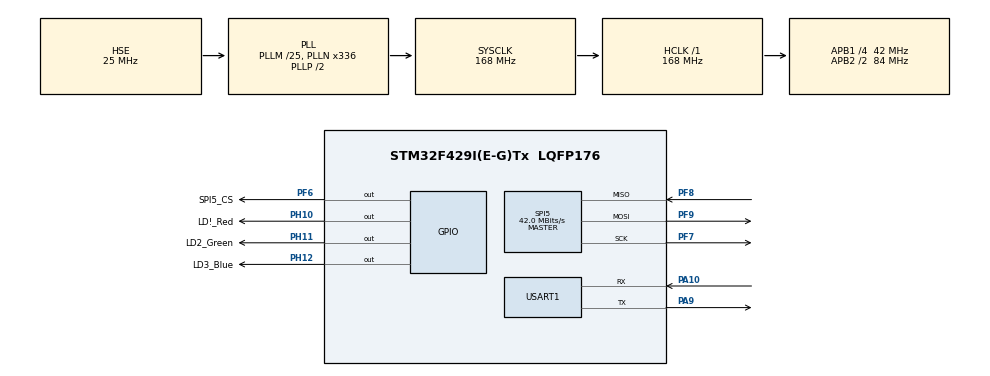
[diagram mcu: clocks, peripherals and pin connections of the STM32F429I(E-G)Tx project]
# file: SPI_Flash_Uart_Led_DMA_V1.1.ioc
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Dma.Request0=SPI5_RX
Dma.Request1=SPI5_TX
Dma.SPI5_RX.0.Direction=DMA_PERIPH_TO_MEMORY
Dma.SPI5_RX.0.FIFOMode=DMA_FIFOMODE_DISABLE
Dma.SPI5_RX.0.Instance=DMA2_Stream3
Dma.SPI5_RX.0.MemDataAlignment=DMA_MDATAALIGN_BYTE
Dma.SPI5_RX.0.MemInc=DMA_MINC_ENABLE
Dma.SPI5_RX.0.Mode=DMA_NORMAL
Dma.SPI5_RX.0.PeriphDataAlignment=DMA_PDATAALIGN_BYTE
Dma.SPI5_RX.0.PeriphInc=DMA_PINC_DISABLE
Dma.SPI5_RX.0.Priority=DMA_PRIORITY_LOW
Dma.SPI5_TX.1.Direction=DMA_MEMORY_TO_PERIPH
Dma.SPI5_TX.1.FIFOMode=DMA_FIFOMODE_DISABLE
Dma.SPI5_TX.1.Instance=DMA2_Stream4
Dma.SPI5_TX.1.MemDataAlignment=DMA_MDATAALIGN_BYTE
Dma.SPI5_TX.1.MemInc=DMA_MINC_ENABLE
Dma.SPI5_TX.1.Mode=DMA_NORMAL
Dma.SPI5_TX.1.PeriphDataAlignment=DMA_PDATAALIGN_BYTE
Dma.SPI5_TX.1.PeriphInc=DMA_PINC_DISABLE
Dma.SPI5_TX.1.Priority=DMA_PRIORITY_LOW
FATFS._MAX_SS=4096
Mcu.Family=STM32F4
Mcu.Name=STM32F429I(E-G)Tx
Mcu.Package=LQFP176
NVIC.DMA2_Stream3_IRQn=true\:0\:0\:false\:false\:true\:false\:true
NVIC.DMA2_Stream4_IRQn=true\:0\:0\:false\:false\:true\:false\:true
NVIC.PriorityGroup=NVIC_PRIORITYGROUP_4
NVIC.SPI5_IRQn=true\:0\:0\:false\:false\:true\:true\:true
PA10.Mode=Asynchronous
PA10.Signal=USART1_RX
PA13.Mode=Serial_Wire
PA13.Signal=SYS_JTMS-SWDIO
PA14.Mode=Serial_Wire
PA14.Signal=SYS_JTCK-SWCLK
PA9.Mode=Asynchronous
PA9.Signal=USART1_TX
PF6.GPIO_Label=SPI5_CS
PF6.PinState=GPIO_PIN_SET
PF6.Signal=GPIO_Output
PF7.Mode=Full_Duplex_Master
PF7.Signal=SPI5_SCK
PF8.Mode=Full_Duplex_Master
PF8.Signal=SPI5_MISO
PF9.Mode=Full_Duplex_Master
PF9.Signal=SPI5_MOSI
PH0/OSC_IN.Mode=HSE-External-Oscillator
PH0/OSC_IN.Signal=RCC_OSC_IN
PH1/OSC_OUT.Mode=HSE-External-Oscillator
PH1/OSC_OUT.Signal=RCC_OSC_OUT
PH10.GPIO_Label=LD\!_Red
PH10.PinState=GPIO_PIN_SET
PH10.Signal=GPIO_Output
PH11.GPIO_Label=LD2_Green
PH11.PinState=GPIO_PIN_SET
PH11.Signal=GPIO_Output
PH12.GPIO_Label=LD3_Blue
PH12.PinState=GPIO_PIN_SET
PH12.Signal=GPIO_Output
ProjectManager.HeapSize=0x200
ProjectManager.StackSize=0x400
ProjectManager.TargetToolchain=STM32CubeIDE
RCC.48MHZClocksFreq_Value=84000000
RCC.AHBFreq_Value=168000000
RCC.APB1CLKDivider=RCC_HCLK_DIV4
RCC.APB1Freq_Value=42000000
RCC.APB1TimFreq_Value=84000000
RCC.APB2CLKDivider=RCC_HCLK_DIV2
RCC.APB2Freq_Value=84000000
RCC.APB2TimFreq_Value=168000000
RCC.CortexFreq_Value=168000000
RCC.HCLKFreq_Value=168000000
RCC.HSE_VALUE=25000000
RCC.HSI_VALUE=16000000
RCC.LSE_VALUE=32768
RCC.PLLM=25
RCC.PLLN=336
RCC.PLLSourceVirtual=RCC_PLLSOURCE_HSE
RCC.SYSCLKFreq_VALUE=168000000
RCC.SYSCLKSource=RCC_SYSCLKSOURCE_PLLCLK
RCC.VCOOutputFreq_Value=336000000
SPI5.BaudRatePrescaler=SPI_BAUDRATEPRESCALER_2
SPI5.CalculateBaudRate=42.0 MBits/s
SPI5.Direction=SPI_DIRECTION_2LINES
SPI5.Mode=SPI_MODE_MASTER
SPI5.VirtualType=VM_MASTER
USART1.VirtualMode=VM_ASYNC
VP_FATFS_VS_Generic.Mode=User_defined
board=custom

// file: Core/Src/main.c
/* USER CODE BEGIN Header */
/**
  ******************************************************************************
  * @file           : main.c
  * @brief          : Main program body
  ******************************************************************************
  * @attention
  *
  * Copyright (c) 2022 STMicroelectronics.
  * All rights reserved.
  *
  * This software is licensed under terms that can be found in the LICENSE file
  * in the root directory of this software component.
  * If no LICENSE file comes with this software, it is provided AS-IS.
  *
  ******************************************************************************
  */
/* USER CODE END Header */
#include "main.h"
#include "fatfs.h"

/* USER CODE BEGIN Includes */
#include "file_handling.h"
#include "stdio.h"
/* USER CODE END Includes */

SPI_HandleTypeDef hspi5;
DMA_HandleTypeDef hdma_spi5_rx;
DMA_HandleTypeDef hdma_spi5_tx;

UART_HandleTypeDef huart1;

void SystemClock_Config(void);
static void MX_GPIO_Init(void);
static void MX_DMA_Init(void);
static void MX_SPI5_Init(void);
static void MX_USART1_UART_Init(void);

/* USER CODE BEGIN 0 */
int _write(int file, char *ptr, int len)
{
	HAL_UART_Transmit(&huart1, (uint8_t *)ptr, len, 100);
	return len;
}

FATFS w25qxxx_fs;
FIL   w25qxxx_fp;
/* USER CODE END 0 */

int main(void)
{

  /* MCU Configuration--------------------------------------------------------*/

  /* Reset of all peripherals, Initializes the Flash interface and the Systick. */
  HAL_Init();

  /* Configure the system clock */
  SystemClock_Config();

  /* Initialize all configured peripherals */
  MX_GPIO_Init();
  MX_DMA_Init();
  MX_SPI5_Init();
  MX_USART1_UART_Init();
  MX_FATFS_Init();
  /* USER CODE BEGIN 2 */

  FRESULT fres;
  fres = f_mount(&w25qxxx_fs, "0:", 1);
  if (fres == FR_OK)
  {
	  printf("  spi flash w25qxxx mount ok...\r\n");

	  DWORD free_byte[1], total_byte[1];
	  fres = ff_getCapacity("0:", free_byte, total_byte);
	  if (fres == FR_OK)
	  {
		  printf("  total capacity : %ld KiByte\r\n", total_byte[0]);
		  printf("  free  capacity : %ld KiByte\r\n", free_byte[0]);

		  TCHAR path[50] = "0:";
		  fres = ff_scanDisk(path);
		  if (fres == FR_OK)
		  {
			  printf("----- scan spi flash -----\r\n");
		  }
	  }

	  fres = f_open(&w25qxxx_fp, "0:/DEMO.TXT", FA_OPEN_EXISTING|FA_READ|FA_WRITE);
	  if(fres == FR_OK)
	  {
		  printf("open 0:/DEMO.TXT file ok...\r\n");

		  uint8_t buff[200];
		  UINT br[1];
		  fres = f_lseek(&w25qxxx_fp, 0);
		  fres = f_read(&w25qxxx_fp, buff, f_size(&w25qxxx_fp), br);
		  (fres == FR_OK)? printf("read 0:/DEMO.TXT file ok...\r\n"): printf("read 0:/DEMO.TXT file error...\r\n");

		  fres = f_lseek(&w25qxxx_fp, f_size(&w25qxxx_fp));
		  fres = f_write(&w25qxxx_fp, "add info", 9, br);
		  if (fres == FR_OK)
		  {
			  fres = f_close(&w25qxxx_fp);
			  if (fres == FR_OK)
				  printf("write data ok...\r\n");
		  }
	  }
	  else {
		printf("open 0:/DEMO.TXT file error...\r\n");
	}

  }
  else
	  printf("  spi flash w25qxxx mount ok...\r\n");

  /* USER CODE END 2 */

  /* Infinite loop */
  /* USER CODE BEGIN WHILE */
  while (1)
  {
	  HAL_GPIO_TogglePin(LD3_Blue_GPIO_Port, LD3_Blue_Pin);
	  HAL_Delay(300);
    /* USER CODE END WHILE */

  }
}

void SystemClock_Config(void)
{
  RCC_OscInitTypeDef RCC_OscInitStruct = {0};
  RCC_ClkInitTypeDef RCC_ClkInitStruct = {0};

  /** Configure the main internal regulator output voltage
  */
  __HAL_RCC_PWR_CLK_ENABLE();
  __HAL_PWR_VOLTAGESCALING_CONFIG(PWR_REGULATOR_VOLTAGE_SCALE1);
  /** Initializes the RCC Oscillators according to the specified parameters
  * in the RCC_OscInitTypeDef structure.
  */
  RCC_OscInitStruct.OscillatorType = RCC_OSCILLATORTYPE_HSE;
  RCC_OscInitStruct.HSEState = RCC_HSE_ON;
  RCC_OscInitStruct.PLL.PLLState = RCC_PLL_ON;
  RCC_OscInitStruct.PLL.PLLSource = RCC_PLLSOURCE_HSE;
  RCC_OscInitStruct.PLL.PLLM = 25;
  RCC_OscInitStruct.PLL.PLLN = 336;
  RCC_OscInitStruct.PLL.PLLP = RCC_PLLP_DIV2;
  RCC_OscInitStruct.PLL.PLLQ = 4;
  if (HAL_RCC_OscConfig(&RCC_OscInitStruct) != HAL_OK)
  {
    Error_Handler();
  }
  /** Initializes the CPU, AHB and APB buses clocks
  */
  RCC_ClkInitStruct.ClockType = RCC_CLOCKTYPE_HCLK|RCC_CLOCKTYPE_SYSCLK
                              |RCC_CLOCKTYPE_PCLK1|RCC_CLOCKTYPE_PCLK2;
  RCC_ClkInitStruct.SYSCLKSource = RCC_SYSCLKSOURCE_PLLCLK;
  RCC_ClkInitStruct.AHBCLKDivider = RCC_SYSCLK_DIV1;
  RCC_ClkInitStruct.APB1CLKDivider = RCC_HCLK_DIV4;
  RCC_ClkInitStruct.APB2CLKDivider = RCC_HCLK_DIV2;

  if (HAL_RCC_ClockConfig(&RCC_ClkInitStruct, FLASH_LATENCY_5) != HAL_OK)
  {
    Error_Handler();
  }
}

static void MX_SPI5_Init(void)
{

  /* SPI5 parameter configuration*/
  hspi5.Instance = SPI5;
  hspi5.Init.Mode = SPI_MODE_MASTER;
  hspi5.Init.Direction = SPI_DIRECTION_2LINES;
  hspi5.Init.DataSize = SPI_DATASIZE_8BIT;
  hspi5.Init.CLKPolarity = SPI_POLARITY_LOW;
  hspi5.Init.CLKPhase = SPI_PHASE_1EDGE;
  hspi5.Init.NSS = SPI_NSS_SOFT;
  hspi5.Init.BaudRatePrescaler = SPI_BAUDRATEPRESCALER_2;
  hspi5.Init.FirstBit = SPI_FIRSTBIT_MSB;
  hspi5.Init.TIMode = SPI_TIMODE_DISABLE;
  hspi5.Init.CRCCalculation = SPI_CRCCALCULATION_DISABLE;
  hspi5.Init.CRCPolynomial = 10;
  if (HAL_SPI_Init(&hspi5) != HAL_OK)
  {
    Error_Handler();
  }

}

static void MX_USART1_UART_Init(void)
{

  huart1.Instance = USART1;
  huart1.Init.BaudRate = 115200;
  huart1.Init.WordLength = UART_WORDLENGTH_8B;
  huart1.Init.StopBits = UART_STOPBITS_1;
  huart1.Init.Parity = UART_PARITY_NONE;
  huart1.Init.Mode = UART_MODE_TX_RX;
  huart1.Init.HwFlowCtl = UART_HWCONTROL_NONE;
  huart1.Init.OverSampling = UART_OVERSAMPLING_16;
  if (HAL_UART_Init(&huart1) != HAL_OK)
  {
    Error_Handler();
  }

}

static void MX_DMA_Init(void)
{

  /* DMA controller clock enable */
  __HAL_RCC_DMA2_CLK_ENABLE();

  /* DMA interrupt init */
  /* DMA2_Stream3_IRQn interrupt configuration */
  HAL_NVIC_SetPriority(DMA2_Stream3_IRQn, 0, 0);
  HAL_NVIC_EnableIRQ(DMA2_Stream3_IRQn);
  /* DMA2_Stream4_IRQn interrupt configuration */
  HAL_NVIC_SetPriority(DMA2_Stream4_IRQn, 0, 0);
  HAL_NVIC_EnableIRQ(DMA2_Stream4_IRQn);

}

static void MX_GPIO_Init(void)
{
  GPIO_InitTypeDef GPIO_InitStruct = {0};

  /* GPIO Ports Clock Enable */
  __HAL_RCC_GPIOF_CLK_ENABLE();
  __HAL_RCC_GPIOH_CLK_ENABLE();
  __HAL_RCC_GPIOA_CLK_ENABLE();

  /*Configure GPIO pin Output Level */
  HAL_GPIO_WritePin(SPI5_CS_GPIO_Port, SPI5_CS_Pin, GPIO_PIN_SET);

  /*Configure GPIO pin Output Level */
  HAL_GPIO_WritePin(GPIOH, LD__Red_Pin|LD2_Green_Pin|LD3_Blue_Pin, GPIO_PIN_SET);

  /*Configure GPIO pin : SPI5_CS_Pin */
  GPIO_InitStruct.Pin = SPI5_CS_Pin;
  GPIO_InitStruct.Mode = GPIO_MODE_OUTPUT_PP;
  GPIO_InitStruct.Pull = GPIO_NOPULL;
  GPIO_InitStruct.Speed = GPIO_SPEED_FREQ_LOW;
  HAL_GPIO_Init(SPI5_CS_GPIO_Port, &GPIO_InitStruct);

  /*Configure GPIO pins : LD__Red_Pin LD2_Green_Pin LD3_Blue_Pin */
  GPIO_InitStruct.Pin = LD__Red_Pin|LD2_Green_Pin|LD3_Blue_Pin;
  GPIO_InitStruct.Mode = GPIO_MODE_OUTPUT_PP;
  GPIO_InitStruct.Pull = GPIO_NOPULL;
  GPIO_InitStruct.Speed = GPIO_SPEED_FREQ_LOW;
  HAL_GPIO_Init(GPIOH, &GPIO_InitStruct);

}

void Error_Handler(void)
{
  __disable_irq();
  while (1)
  {
  }
}
